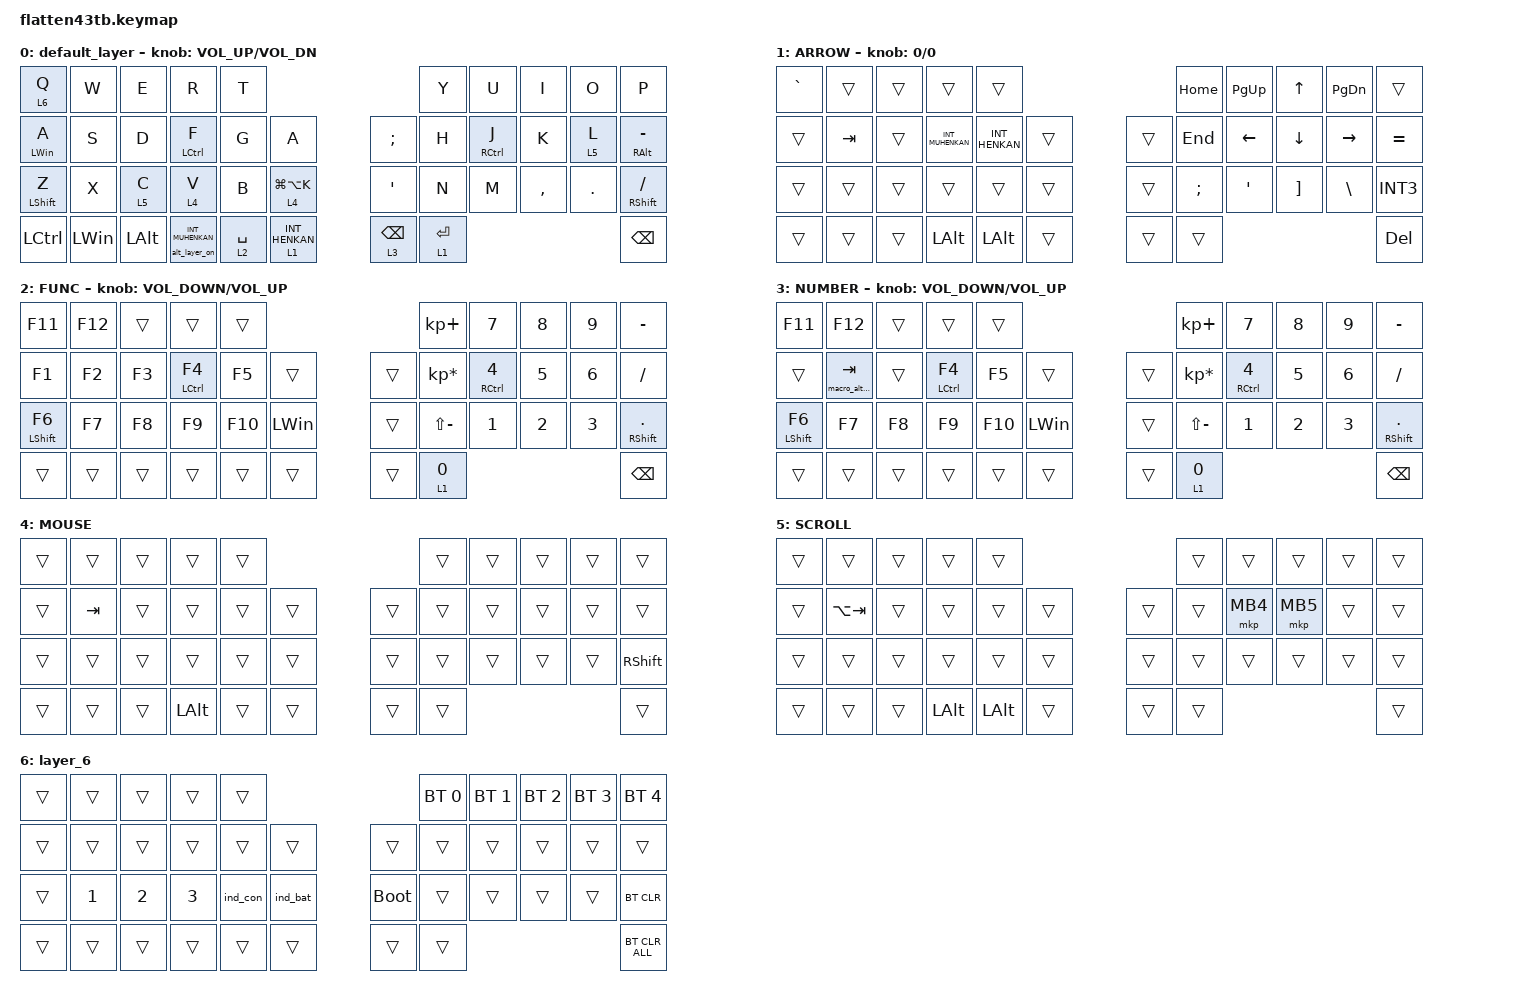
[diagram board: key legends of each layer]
#define ZMK_POINTING_DEFAULT_SCRL_VAL 150

#include <behaviors/rgbled_widget.dtsi>
#include <dt-bindings/zmk/input_transform.h>
#include <input/processors.dtsi>
#include <zephyr/dt-bindings/input/input-event-codes.h>
#include <behaviors.dtsi>
#include <dt-bindings/zmk/bt.h>
#include <dt-bindings/zmk/keys.h>
#include <dt-bindings/zmk/pointing.h>

&mt {
    flavor = "tap-preferred";
    quick-tap-ms = <50>;
};

&mmv {
    delay-ms = <20>;
    trigger-period-ms = <5>;
    time-to-max-speed-ms = <100>;
    acceleration-exponent = <2>;
};

&msc {
    delay-ms = <3>;
    trigger-period-ms = <3>;
    time-to-max-speed-ms = <100>;
    acceleration-exponent = <0>;
};

/ {
    input_processors {
        zip_wheel_scaler: zip_wheel_scaler {
            compatible = "zmk,input-processor-scaler";
            #input-processor-cells = <2>;
            type = <INPUT_EV_REL>;
            codes = <INPUT_REL_WHEEL>;
            track-remainders;
        };
    };
};

/ {
    combos {
        compatible = "zmk,combos";

        tab {
            bindings = <&kp TAB>;
            key-positions = <11 12>;
            require-prior-idle-ms = <10>;
            timeout-ms = <40>;
            slow-release;
        };

        Escape {
            bindings = <&kp ESCAPE>;
            key-positions = <1 2>;
            timeout-ms = <40>;
        };

        ro {
            bindings = <&kp INT_RO>;
            key-positions = <31 32>;
            timeout-ms = <50>;
            require-prior-idle-ms = <10>;
            slow-release;
        };

        left_click {
            bindings = <&mkp MB1>;
            key-positions = <19 20>;
            timeout-ms = <40>;
            slow-release;
        };

        right_click {
            bindings = <&mkp MB2>;
            key-positions = <20 21>;
            slow-release;
            timeout-ms = <40>;
        };

        tab_alt {
            bindings = <&kp LA(TAB)>;
            key-positions = <11 12>;
            layers = <2>;
        };

        henkan {
            bindings = <&kp INT_HENKAN>;
            key-positions = <18 19>;
        };

        muhenkan {
            bindings = <&kp INT_MUHENKAN>;
            key-positions = <13 12>;
        };

        at {
            bindings = <&kp LEFT_BRACKET>;
            key-positions = <7 8>;
        };
    };

    macros {
        to_layer_0: to_layer_0 {
            compatible = "zmk,behavior-macro-one-param";
            #binding-cells = <1>;
            bindings = <&to 0 &macro_param_1to1 &kp MACRO_PLACEHOLDER>;
            label = "TO_LAYER_0";
        };

        mic_mute: mic_mute {
            compatible = "zmk,behavior-macro";
            #binding-cells = <0>;
            bindings = <&none>;
            label = "MIC_MUTE";
        };

        // Altとレイヤー4(MOUSE)を同時に押し下げるマクロ

        alt_layer_on: alt_layer_on {
            compatible = "zmk,behavior-macro-one-param";
            #binding-cells = <1>;
            wait-ms = <0>;
            tap-ms = <0>;
            bindings =
                <&macro_press>,
                <&kp LALT &mo 4>,
                <&macro_pause_for_release>,
                <&macro_release>,
                <&kp LALT &mo 4>;
        };

        macro_alt_tab: macro_alt_tab {
            compatible = "zmk,behavior-macro";
            #binding-cells = <0>;
            bindings = <&kp LALT &kp TAB>;
            label = "MACRO_ALT_TAB";
        };
    };

    behaviors {
        lt_to_layer_0: lt_to_layer_0 {
            compatible = "zmk,behavior-hold-tap";
            label = "LAYER_TAP_TO_0";
            bindings = <&mo>, <&to_layer_0>;

            #binding-cells = <2>;
            tapping-term-ms = <220>;
        };

        sensor_rotate_kp: sensor_rotate_kp {
            compatible = "zmk,behavior-sensor-rotate-var";
            #sensor-binding-cells = <2>;
            bindings = <&kp>, <&kp>;
        };

        mouse_wheel_scroll: mouse_wheel_scroll {
            compatible = "zmk,behavior-sensor-rotate-var";
            #sensor-binding-cells = <2>;
            bindings = <&msc>, <&msc>;

            tap-ms = <20>;
        };

        // 親指用：ホールドで上記マクロ（Alt押し+Layer5）、タップでTAB

        alt_tab_hold: alt_tab_hold {
            compatible = "zmk,behavior-hold-tap";
            label = "ALT_TAB_HOLD";
            #binding-cells = <2>;
            tapping-term-ms = <200>;
            flavor = "hold-preferred";

            // 1つ目(Hold)にマクロ、2つ目(Tap)に通常のキー

            bindings = <&macro_alt_tab>, <&kp>;
        };

        // 無変換用：ホールドでAlt+Layer4(MOUSE)、タップでINT_MUHENKAN

        ht_alt_layer: ht_alt_layer {
            compatible = "zmk,behavior-hold-tap";
            label = "HT_ALT_LAYER";
            #binding-cells = <2>;
            tapping-term-ms = <200>;
            flavor = "hold-preferred";
            bindings = <&alt_layer_on>, <&kp>;
        };

        a_win: a_win {
            compatible = "zmk,behavior-hold-tap";
            label = "A_WIN";
            bindings = <&kp>, <&kp>;

            #binding-cells = <2>;
            tapping-term-ms = <200>;
            flavor = "tap-preferred";
            quick-tap-ms = <160>;
            require-prior-idle-ms = <10>;
            hold-trigger-on-release;
        };
    };

    keymap {
        compatible = "zmk,keymap";

        default_layer {
            bindings = <
&lt 6 Q            &kp W         &kp E         &kp R                         &kp T                                                          &kp Y        &kp U        &kp I      &kp O    &kp P
&a_win LEFT_WIN A  &kp S         &kp D         &mt LCTRL F                   &kp G        &kp A                            &kp SEMI         &kp H        &mt RCTRL J  &kp K      &lt 5 L  &mt RIGHT_ALT MINUS
&mt LEFT_SHIFT Z   &kp X         &lt 5 C       &lt 4 V                       &kp B        &lt 4 LG(LA(K))                  &kp APOS         &kp N        &kp M        &kp COMMA  &kp DOT  &mt RIGHT_SHIFT SLASH
&kp LCTRL          &kp LEFT_WIN  &kp LEFT_ALT  &ht_alt_layer 0 INT_MUHENKAN  &lt 2 SPACE  &lt_to_layer_0 1 INT_HENKAN      &lt 3 BACKSPACE  &lt 1 ENTER                                   &kp BACKSPACE
            >;

            sensor-bindings = <&sensor_rotate_kp C_VOL_UP C_VOL_DN>;
        };

        ARROW {
            bindings = <
&kp GRAVE  &trans   &trans  &trans            &trans                              &kp HOME  &kp PAGE_UP  &kp UP_ARROW    &kp PAGE_DOWN  &trans
&trans     &kp TAB  &trans  &kp INT_MUHENKAN  &kp INT_HENKAN  &trans      &trans  &kp END   &kp LEFT     &kp DOWN_ARROW  &kp RIGHT      &kp EQUAL
&trans     &trans   &trans  &trans            &trans          &trans      &trans  &kp SEMI  &kp APOS     &kp RBKT        &kp BSLH       &kp INT3
&trans     &trans   &trans  &kp LEFT_ALT      &kp LEFT_ALT    &trans      &trans  &trans                                                &kp DELETE
            >;

            sensor-bindings = <&inc_dec_kp 0 0>;
        };

        FUNC {
            bindings = <
&kp F11            &kp F12  &trans  &trans        &trans                             &kp KP_PLUS      &kp N7              &kp N8  &kp N9  &kp MINUS
&kp F1             &kp F2   &kp F3  &mt LCTRL F4  &kp F5   &trans            &trans  &kp KP_ASTERISK  &mt RCTRL NUMBER_4  &kp N5  &kp N6  &kp FSLH
&mt LEFT_SHIFT F6  &kp F7   &kp F8  &kp F9        &kp F10  &kp LEFT_WIN      &trans  &kp LS(MINUS)    &kp N1              &kp N2  &kp N3  &mt RIGHT_SHIFT DOT
&trans             &trans   &trans  &trans        &trans   &trans            &trans  &lt 1 N0                                             &kp BACKSPACE
            >;

            sensor-bindings = <&sensor_rotate_kp C_VOLUME_DOWN C_VOLUME_UP>;
        };

        NUMBER {
            bindings = <
&kp F11            &kp F12              &trans  &trans        &trans                             &kp KP_PLUS      &kp N7              &kp N8  &kp N9  &kp MINUS
&trans             &alt_tab_hold 0 TAB  &trans  &mt LCTRL F4  &kp F5   &trans            &trans  &kp KP_ASTERISK  &mt RCTRL NUMBER_4  &kp N5  &kp N6  &kp FSLH
&mt LEFT_SHIFT F6  &kp F7               &kp F8  &kp F9        &kp F10  &kp LEFT_WIN      &trans  &kp LS(MINUS)    &kp N1              &kp N2  &kp N3  &mt RIGHT_SHIFT DOT
&trans             &trans               &trans  &trans        &trans   &trans            &trans  &lt 1 N0                                             &kp BACKSPACE
            >;

            sensor-bindings = <&sensor_rotate_kp C_VOLUME_DOWN C_VOLUME_UP>;
        };

        MOUSE {
            bindings = <
&trans  &trans   &trans  &trans        &trans                      &trans  &trans  &trans  &trans  &trans
&trans  &kp TAB  &trans  &trans        &trans  &trans      &trans  &trans  &trans  &trans  &trans  &trans
&trans  &trans   &trans  &trans        &trans  &trans      &trans  &trans  &trans  &trans  &trans  &kp RIGHT_SHIFT
&trans  &trans   &trans  &kp LEFT_ALT  &trans  &trans      &trans  &trans                          &trans
            >;
        };

        SCROLL {
            bindings = <
&trans  &trans       &trans  &trans        &trans                            &trans  &trans    &trans    &trans  &trans
&trans  &kp LA(TAB)  &trans  &trans        &trans        &trans      &trans  &trans  &mkp MB4  &mkp MB5  &trans  &trans
&trans  &trans       &trans  &trans        &trans        &trans      &trans  &trans  &trans    &trans    &trans  &trans
&trans  &trans       &trans  &kp LEFT_ALT  &kp LEFT_ALT  &trans      &trans  &trans                              &trans
            >;
        };

        layer_6 {
            bindings = <
&trans  &trans        &trans        &trans        &trans                               &bt BT_SEL 0  &bt BT_SEL 1  &bt BT_SEL 2  &bt BT_SEL 3  &bt BT_SEL 4
&trans  &trans        &trans        &trans        &trans    &trans        &trans       &trans        &trans        &trans        &trans        &trans
&trans  &kp NUMBER_1  &kp NUMBER_2  &kp NUMBER_3  &ind_con  &ind_bat      &bootloader  &trans        &trans        &trans        &trans        &bt BT_CLR
&trans  &trans        &trans        &trans        &trans    &trans        &trans       &trans                                                  &bt BT_CLR_ALL
            >;
        };
    };
};
